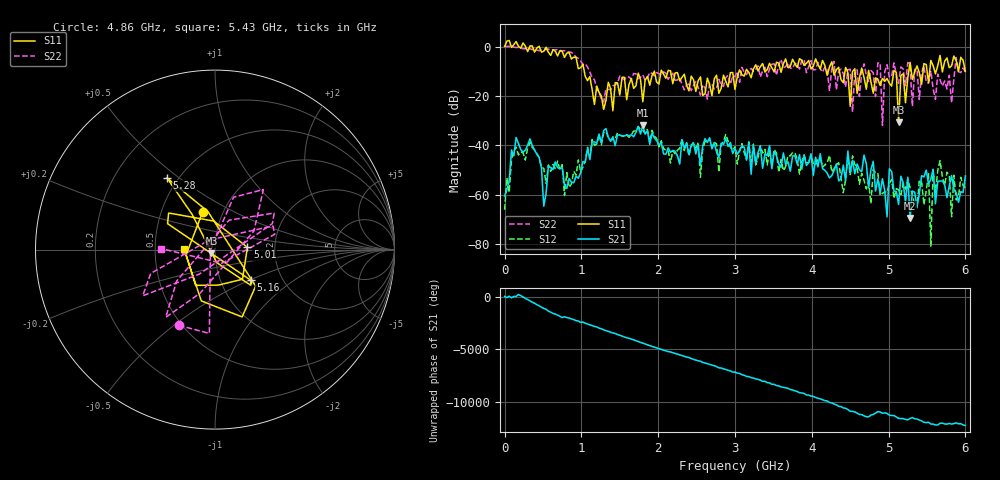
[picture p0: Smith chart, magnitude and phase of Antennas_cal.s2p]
#  HZ  S  DB  R  50.0
! Rohde & Schwarz ZVL13 2Ports - Version 3.20 - 1303.6509k13 SN: 100953
! Date: 2024-10-21 06:37:52
! Data & Calibration Information:
! Trc1:S11(TOSM) Trc4:S21(TOSM) Trc2:S12(TOSM) Trc3:S22(TOSM)
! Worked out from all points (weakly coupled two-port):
!   201 points, 5 kHz to 6 GHz, reference 50 ohm
!   highest |S21| = -31.80 dB at 1.8 GHz (marker M1); lowest = -69.4 dB at 5.28 GHz (marker M2)
!   lowest |S11| = -30.7 dB at 5.13 GHz (marker M3), VSWR 1.06, Z = 48 - j2.07 ohm
!   |S11| at or under -10 dB: 1.037 GHz to 1.95 GHz (912.2 MHz wide, 61.1 % of centre); 2.161 GHz to 3.054 GHz (892.5 MHz wide, 34.2 % of centre); 4.742 GHz to 5.068 GHz (325.9 MHz wide, 6.64 % of centre) (the widest 3 of 24)
!   |S22| runs from -31.9 to 0.1 dB; largest |S21 - S12| = 0.0056
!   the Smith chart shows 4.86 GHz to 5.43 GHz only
!   S11 on the Smith chart (normalised r, x): 4.86 GHz: 0.80, +0.35; 5.01 GHz: 1.44, +0.04; 5.16 GHz: 1.39, -0.51; 5.28 GHz: 0.44, +0.45; 5.43 GHz: 0.70, +0.00
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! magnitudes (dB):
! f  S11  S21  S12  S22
! 5 kHz  0.0  -60.4  -66.0  0.0
! 150 MHz  2.0  -36.8  -40.7  -0.4
! 510 MHz  -1.9  -64.5  -49.3  -1.0
! 1.02 GHz  -7.2  -46.5  -48.7  -7.2
! 1.8 GHz  -22.3  -31.8  -33.9  -11.4
! 2.01 GHz  -15.1  -39.7  -40.6  -11.0
! 3 GHz  -17.4  -41.2  -40.5  -12.1
! 4.02 GHz  -7.9  -52.2  -47.6  -9.4
! 4.5 GHz  -24.1  -51.1  -52.0  -9.1
! 4.53 GHz  -10.2  -46.0  -44.2  -26.5
! 4.86 GHz  -13.2  -53.5  -51.1  -6.6
! 4.92 GHz  -12.9  -53.5  -59.4  -31.9
! 4.98 GHz  -12.9  -68.9  -59.0  -7.3
! 5.01 GHz  -14.8  -49.4  -55.4  -12.4
! 5.13 GHz  -30.7  -63.8  -58.0  -14.8
! 5.16 GHz  -11.7  -52.4  -59.9  -8.2
! 5.28 GHz  -6.4  -69.4  -57.1  -8.4
! 5.43 GHz  -15.2  -52.2  -54.7  -10.5
! 5.52 GHz  -14.6  -55.5  -51.0  -14.9
! 5.55 GHz  -5.6  -53.7  -80.7  -9.9
! 5.58 GHz  -7.7  -49.6  -49.7  -17.1
! 6 GHz  -10.1  -52.3  -57.1  -10.2
